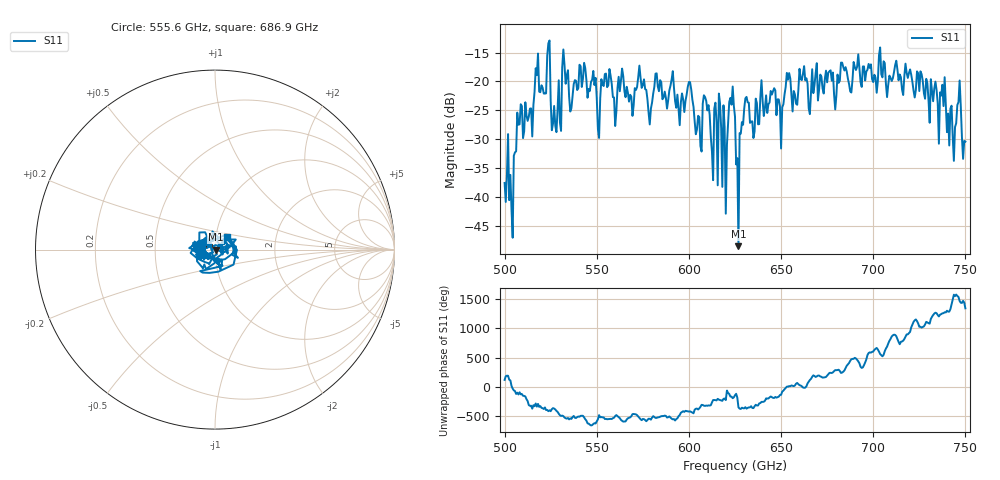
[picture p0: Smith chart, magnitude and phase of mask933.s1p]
!Created with skrf (http://scikit-rf.org).
# GHz S MA R 50.0
!freq magS11 angS11
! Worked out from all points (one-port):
!   401 points, 500 GHz to 750 GHz, reference 50 ohm
!   lowest |S11| = -48.4 dB at 626.9 GHz (marker M1), VSWR 1.01, Z = 50.4 + j0.031 ohm
!   |S11| at or under -10 dB: start of sweep to end of sweep
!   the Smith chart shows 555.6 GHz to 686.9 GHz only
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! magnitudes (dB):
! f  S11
! 500 GHz  -37.5
! 503.8 GHz  -42.2
! 508.1 GHz  -27.4
! 513.8 GHz  -24.7
! 517.5 GHz  -18.9
! 523.8 GHz  -13.4
! 526.9 GHz  -24.2
! 531.2 GHz  -17.6
! 542.5 GHz  -19.5
! 551.2 GHz  -29.8
! 562.5 GHz  -21.7
! 593.8 GHz  -22.3
! 600.6 GHz  -20.1
! 605.6 GHz  -26.2
! 609.4 GHz  -23.3
! 619.4 GHz  -27.9
! 623.1 GHz  -24.0
! 625 GHz  -26.1
! 626.9 GHz  -48.4
! 631.2 GHz  -22.7
! 634.4 GHz  -26.9
! 656.2 GHz  -25.2
! 687.5 GHz  -21.7
! 718.8 GHz  -19.4
! 737.5 GHz  -20.6
! 742.5 GHz  -24.2
! 746.2 GHz  -23.6
! 750 GHz  -30.4
